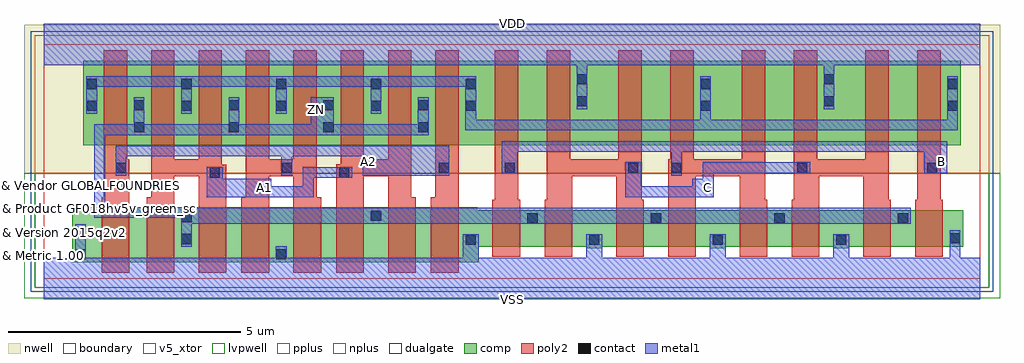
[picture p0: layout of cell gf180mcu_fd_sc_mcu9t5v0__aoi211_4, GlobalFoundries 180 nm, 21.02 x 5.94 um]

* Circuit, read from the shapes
.subckt gf180mcu_fd_sc_mcu9t5v0__aoi211_4 A1 A2 B C VDD VSS ZN
XM1 n1 A2 VSS VSUBS nfet_05v0 w=1.185u l=0.6u
XM2 ZN A1 n1 VSUBS nfet_05v0 w=1.185u l=0.6u
XM3 n2 A1 ZN VSUBS nfet_05v0 w=1.185u l=0.6u
XM4 VSS A2 n2 VSUBS nfet_05v0 w=1.185u l=0.6u
XM5 n3 A2 VSS VSUBS nfet_05v0 w=1.185u l=0.6u
XM6 ZN A1 n3 VSUBS nfet_05v0 w=1.185u l=0.6u
XM7 n4 A1 ZN VSUBS nfet_05v0 w=1.185u l=0.6u
XM8 VSS A2 n4 VSUBS nfet_05v0 w=1.185u l=0.6u
XM9 ZN B VSS VSUBS nfet_05v0 w=0.79u l=0.6u m=4
XM10 VSS C ZN VSUBS nfet_05v0 w=0.79u l=0.6u m=4
XM11 ZN A2 n5 n6 pfet_05v0 w=1.83u l=0.5u m=4
XM12 n5 A1 ZN n6 pfet_05v0 w=1.83u l=0.5u m=4
XM13 n7 B n5 n6 pfet_05v0 w=1.83u l=0.5u
XM14 VDD C n7 n6 pfet_05v0 w=1.83u l=0.5u
XM15 n8 C VDD n6 pfet_05v0 w=1.83u l=0.5u
XM16 n5 B n8 n6 pfet_05v0 w=1.83u l=0.5u
XM17 n9 B n5 n6 pfet_05v0 w=1.83u l=0.5u
XM18 VDD C n9 n6 pfet_05v0 w=1.83u l=0.5u
XM19 n10 C VDD n6 pfet_05v0 w=1.83u l=0.5u
XM20 n5 B n10 n6 pfet_05v0 w=1.83u l=0.5u
.ends

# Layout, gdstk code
import gdstk
lib = gdstk.Library(unit=1e-6, precision=1e-09)
def R(c, l, rs):  # rectangles x0, y0, x1, y1
    for r in rs: c.add(gdstk.rectangle(r[:2], r[2:], *l))
def A(c, l, x, y, w, h, nx, ny, dx, dy):  # array of equal rectangles
    R(c, l, [(x+i*dx, y+j*dy, x+i*dx+w, y+j*dy+h) for i in range(nx) for j in range(ny)])
def P(c, l, *ps):  # polygons
    for p in ps: c.add(gdstk.Polygon(p, *l))
boundary = (0, 0)
nwell = (21, 0)
comp = (22, 0)
poly2 = (30, 0)
pplus = (31, 0)
nplus = (32, 0)
contact = (33, 0)
metal1 = (34, 0)
dualgate = (55, 0)
v5_xtor = (112, 1)
lvpwell = (204, 0)

gf180mcu_fd_sc_mcu9t5v0_ = lib.new_cell('gf180mcu_fd_sc_mcu9t5v0__aoi211_4')
R(gf180mcu_fd_sc_mcu9t5v0_, boundary, [(0,0,20.16,5.04)])
R(gf180mcu_fd_sc_mcu9t5v0_, nwell, [(-0.43,2.265,20.59,5.47)])
R(gf180mcu_fd_sc_mcu9t5v0_, comp, [(0.85,2.865,19.75,4.695)])
P(gf180mcu_fd_sc_mcu9t5v0_, comp, [(0.61,0.345),(0.61,1.53),(9.33,1.53),(9.33,1.475),(19.8,1.475),(19.8,0.685),(17.34,0.685),(17.34,0.655),(17,0.655),(17,0.685),(14.68,0.685),(14.68,0.655),(14.34,0.655),(14.34,0.685),(12.02,0.685),(12.02,0.655),(11.68,0.655),(11.68,0.685),(9.36,0.685),(9.36,0.345)])
P(gf180mcu_fd_sc_mcu9t5v0_, poly2, [(1.24,0.125),(1.24,1.75),(1.29,1.75),(1.29,4.915),(1.79,4.915),(1.79,2.565),(1.84,2.565),(1.84,0.125)],
  [(2.21,0.125),(2.21,1.75),(2.31,1.75),(2.31,4.915),(2.81,4.915),(2.81,2.565),(3.33,2.565),(3.33,4.915),(3.83,4.915),(3.83,2.455),(3.93,2.455),(3.93,0.125),(3.33,0.125),(3.33,2.205),(2.81,2.205),(2.81,0.125)],
  [(4.25,0.125),(4.25,1.75),(4.35,1.75),(4.35,4.915),(4.85,4.915),(4.85,2.565),(5.37,2.565),(5.37,4.915),(5.87,4.915),(5.87,1.75),(5.97,1.75),(5.97,0.125),(5.37,0.125),(5.37,2.205),(4.85,2.205),(4.85,0.125)],
  [(6.29,0.125),(6.29,2.465),(6.39,2.465),(6.39,4.915),(6.89,4.915),(6.89,2.565),(7.41,2.565),(7.41,4.915),(7.91,4.915),(7.91,1.75),(8.01,1.75),(8.01,0.125),(7.41,0.125),(7.41,2.205),(6.89,2.205),(6.89,0.125)],
  [(8.33,0.125),(8.33,1.75),(8.43,1.75),(8.43,4.915),(8.93,4.915),(8.93,0.125)],
  [(9.66,0.465),(9.66,1.695),(9.71,1.695),(9.71,4.915),(10.21,4.915),(10.21,1.695),(10.26,1.695),(10.26,0.465)],
  [(10.78,0.465),(10.78,1.695),(10.83,1.695),(10.83,4.915),(11.33,4.915),(11.33,2.565),(12.37,2.565),(12.37,4.915),(12.87,4.915),(12.87,1.695),(12.92,1.695),(12.92,0.465),(12.32,0.465),(12.32,2.205),(11.38,2.205),(11.38,0.465)],
  [(13.44,0.465),(13.44,2.565),(13.49,2.565),(13.49,4.915),(13.99,4.915),(13.99,2.565),(15.03,2.565),(15.03,4.915),(15.53,4.915),(15.53,1.695),(15.58,1.695),(15.58,0.465),(14.98,0.465),(14.98,2.205),(14.04,2.205),(14.04,0.465)],
  [(16.1,0.465),(16.1,1.695),(16.15,1.695),(16.15,4.915),(16.65,4.915),(16.65,2.565),(17.69,2.565),(17.69,4.915),(18.19,4.915),(18.19,1.695),(18.24,1.695),(18.24,0.465),(17.64,0.465),(17.64,2.205),(16.7,2.205),(16.7,0.465)],
  [(18.76,0.465),(18.76,1.695),(18.81,1.695),(18.81,4.915),(19.31,4.915),(19.31,1.695),(19.36,1.695),(19.36,0.465)])
R(gf180mcu_fd_sc_mcu9t5v0_, pplus, [(-0.2,2.265,20.36,5.24)])
R(gf180mcu_fd_sc_mcu9t5v0_, nplus, [(-0.2,-0.2,20.36,2.265)])
A(gf180mcu_fd_sc_mcu9t5v0_, contact, 9.08, 0.725, 0.22, 0.22, 4, 1, 2.66, 0)
A(gf180mcu_fd_sc_mcu9t5v0_, contact, 10.41, 1.185, 0.22, 0.22, 4, 1, 2.66, 0)
A(gf180mcu_fd_sc_mcu9t5v0_, contact, 1.94, 3.15, 0.22, 0.22, 4, 2, 2.04, 0.47)
A(gf180mcu_fd_sc_mcu9t5v0_, contact, 0.92, 3.61, 0.22, 0.22, 5, 2, 2.04, 0.47)
R(gf180mcu_fd_sc_mcu9t5v0_, contact, [(0.68,0.415,0.9,0.635), (5,0.415,5.22,0.635), (2.96,0.74,3.18,0.96), (19.51,0.755,19.73,0.975), (0.68,0.885,0.9,1.105), (2.96,1.21,3.18,1.43), (7.04,1.24,7.26,1.46), (3.57,2.175,3.79,2.395), (6.36,2.175,6.58,2.395), (1.55,2.275,1.77,2.495), (5.12,2.275,5.34,2.495), (8.5,2.275,8.72,2.495), (9.92,2.275,10.14,2.495), (12.58,2.275,12.8,2.495), (13.51,2.275,13.73,2.495), (16.22,2.275,16.44,2.495), (19.02,2.275,19.24,2.495), (14.14,3.61,14.36,3.83), (19.46,3.61,19.68,3.83), (11.48,3.71,11.7,3.93), (16.8,3.71,17.02,3.93), (14.14,4.08,14.36,4.3), (19.46,4.08,19.68,4.3), (11.48,4.18,11.7,4.4), (16.8,4.18,17.02,4.4)])
P(gf180mcu_fd_sc_mcu9t5v0_, metal1, [(3.51,1.755),(3.51,2.4),(3.85,2.4),(3.85,2.15),(4.89,2.15),(4.89,1.985),(5.575,1.985),(5.575,2.4),(6.64,2.4),(6.64,2.17),(5.805,2.17),(5.805,1.755)],
  [(1.545,2.215),(1.545,2.86),(8.725,2.86),(8.725,2.215),(6.87,2.215),(6.87,2.63),(5.345,2.63),(5.345,2.215),(5.115,2.215),(5.115,2.63),(1.775,2.63),(1.775,2.215)],
  [(12.52,1.755),(12.52,2.5),(12.86,2.5),(12.86,1.985),(13.96,1.985),(13.96,2.15),(14.19,2.15),(14.19,2.5),(16.5,2.5),(16.5,2.27),(14.42,2.27),(14.42,1.755)],
  [(2.955,0.68),(2.955,1.31),(1.085,1.31),(1.085,3.32),(1.935,3.32),(1.935,3.9),(2.165,3.9),(2.165,3.32),(3.975,3.32),(3.975,3.9),(4.205,3.9),(4.205,3.32),(5.75,3.32),(5.75,3.9),(6.245,3.9),(6.245,3.32),(8.055,3.32),(8.055,3.9),(8.285,3.9),(8.285,3.09),(1.315,3.09),(1.315,1.54),(3.04,1.54),(3.04,1.525),(18.67,1.525),(18.67,1.18),(3.185,1.18),(3.185,0.68)],
  [(13.505,2.215),(13.505,2.73),(10.2,2.73),(10.2,2.27),(9.86,2.27),(9.86,2.96),(19.45,2.96),(19.45,2.27),(18.96,2.27),(18.96,2.73),(13.735,2.73),(13.735,2.215)],
  [(9.075,3.19),(9.075,4.13),(7.265,4.13),(7.265,3.55),(7.035,3.55),(7.035,4.13),(5.225,4.13),(5.225,3.55),(4.995,3.55),(4.995,4.13),(3.185,4.13),(3.185,3.55),(2.955,3.55),(2.955,4.13),(1.145,4.13),(1.145,3.55),(0.915,3.55),(0.915,4.36),(9.305,4.36),(9.305,3.42),(14.135,3.42),(14.135,4.36),(14.365,4.36),(14.365,3.42),(19.455,3.42),(19.455,4.36),(19.685,4.36),(19.685,3.19)],
  [(0,-0.45),(0,0.45),(0.675,0.45),(0.675,1.165),(0.905,1.165),(0.905,0.45),(4.995,0.45),(4.995,0.695),(5.225,0.695),(5.225,0.45),(9.02,0.45),(9.02,0.95),(9.36,0.95),(9.36,0.45),(11.68,0.45),(11.68,0.95),(12.02,0.95),(12.02,0.45),(14.34,0.45),(14.34,0.95),(14.68,0.95),(14.68,0.45),(17,0.45),(17,0.95),(17.34,0.95),(17.34,0.45),(19.505,0.45),(19.505,1.035),(19.735,1.035),(19.735,0.45),(20.16,0.45),(20.16,-0.45)],
  [(11.475,3.65),(11.475,4.59),(0,4.59),(0,5.49),(20.16,5.49),(20.16,4.59),(17.025,4.59),(17.025,3.65),(16.795,3.65),(16.795,4.59),(11.705,4.59),(11.705,3.65)])
R(gf180mcu_fd_sc_mcu9t5v0_, dualgate, [(-0.28,-0.28,20.44,5.32)])
R(gf180mcu_fd_sc_mcu9t5v0_, v5_xtor, [(0,0,20.16,5.04)])
R(gf180mcu_fd_sc_mcu9t5v0_, lvpwell, [(-0.43,-0.43,20.59,2.265)])
gf180mcu_fd_sc_mcu9t5v0_.add(gdstk.Label('A1', (4.76,1.96), layer=34, texttype=10))
gf180mcu_fd_sc_mcu9t5v0_.add(gdstk.Label('A2', (7,2.52), layer=34, texttype=10))
gf180mcu_fd_sc_mcu9t5v0_.add(gdstk.Label('B', (19.32,2.52), layer=34, texttype=10))
gf180mcu_fd_sc_mcu9t5v0_.add(gdstk.Label('C', (14.28,1.96), layer=34, texttype=10))
gf180mcu_fd_sc_mcu9t5v0_.add(gdstk.Label('VDD', (10.08,5.49), layer=34, texttype=10))
gf180mcu_fd_sc_mcu9t5v0_.add(gdstk.Label('VSS', (10.08,-0.45), layer=34, texttype=10))
gf180mcu_fd_sc_mcu9t5v0_.add(gdstk.Label('ZN', (5.88,3.64), layer=34, texttype=10))
gf180mcu_fd_sc_mcu9t5v0_.add(gdstk.Label('& Vendor GLOBALFOUNDRIES', (0,2), layer=63, texttype=63))
gf180mcu_fd_sc_mcu9t5v0_.add(gdstk.Label('& Product GF018hv5v_green_sc9', (0,1.5), layer=63, texttype=63))
gf180mcu_fd_sc_mcu9t5v0_.add(gdstk.Label('& Version 2015q2v2', (0,1), layer=63, texttype=63))
gf180mcu_fd_sc_mcu9t5v0_.add(gdstk.Label('& Metric 1.00', (0,0.5), layer=63, texttype=63))

lib.write_gds('gf180mcu_fd_sc_mcu9t5v0__aoi211_4.gds')
